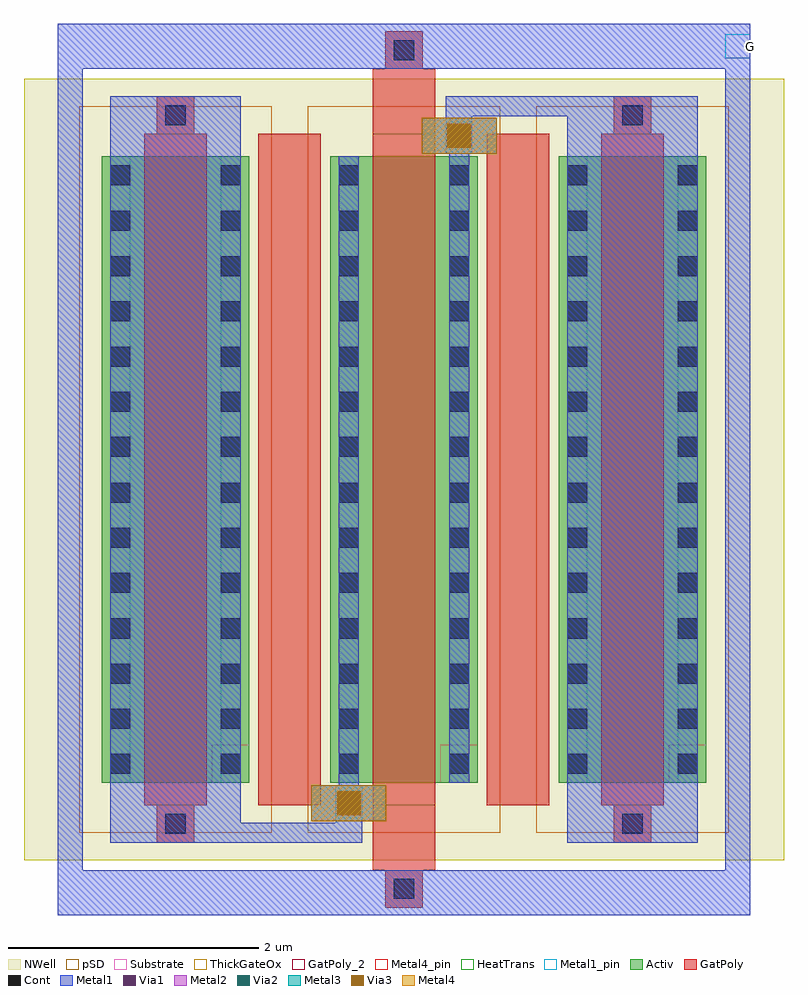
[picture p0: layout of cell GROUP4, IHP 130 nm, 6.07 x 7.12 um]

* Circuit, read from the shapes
.subckt GROUP4 G
XM1 pmosHV_priv10_1/D pmosHV_priv10_1/D pmosHV_priv10_1/D n1 sg13_hv_pmos w=5u l=0.5u
XM2 pmosHV_priv10_1/S G pmosHV_priv10_1/D n1 sg13_hv_pmos w=5u l=0.5u
XM3 pmosHV_priv10_1/S pmosHV_priv10_1/S pmosHV_priv10_1/S n1 sg13_hv_pmos w=5u l=0.5u
.ends

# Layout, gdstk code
import gdstk
lib = gdstk.Library(unit=1e-6, precision=1e-09)
def R(c, l, rs):  # rectangles x0, y0, x1, y1
    for r in rs: c.add(gdstk.rectangle(r[:2], r[2:], *l))
def A(c, l, x, y, w, h, nx, ny, dx, dy):  # array of equal rectangles
    R(c, l, [(x+i*dx, y+j*dy, x+i*dx+w, y+j*dy+h) for i in range(nx) for j in range(ny)])
Activ = (1, 0)
GatPoly = (5, 0)
GatPoly_2 = (5, 2)
Cont = (6, 0)
Metal1 = (8, 0)
Metal1_pin = (8, 2)
Metal2 = (10, 0)
pSD = (14, 0)
Via1 = (19, 0)
Via2 = (29, 0)
Metal3 = (30, 0)
NWell = (31, 0)
Substrate = (40, 0)
ThickGateOx = (44, 0)
Via3 = (49, 0)
Metal4 = (50, 0)
Metal4_pin = (50, 2)
HeatTrans = (51, 0)

pmoshv_priv12 = lib.new_cell('pmosHV_priv12')
R(pmoshv_priv12, Activ, [(0,0,0.3,0.3), (0,0,1.18,5), (0.88,0,1.18,0.3)])
R(pmoshv_priv12, GatPoly, [(0.44,-0.48,0.74,-0.18), (0.34,-0.18,0.84,5.18), (0.44,5.18,0.74,5.48)])
R(pmoshv_priv12, GatPoly_2, [(0.34,-0.18,0.84,5.18)])
A(pmoshv_priv12, Cont, 0.07, 0.07, 0.16, 0.16, 1, 4, 0, 0.36)
A(pmoshv_priv12, Cont, 0.95, 0.07, 0.16, 0.16, 1, 4, 0, 0.36)
A(pmoshv_priv12, Cont, 0.07, 1.515, 0.16, 0.16, 1, 3, 0, 0.36)
A(pmoshv_priv12, Cont, 0.95, 1.515, 0.16, 0.16, 1, 3, 0, 0.36)
A(pmoshv_priv12, Cont, 0.07, 2.6, 0.16, 0.16, 1, 3, 0, 0.36)
A(pmoshv_priv12, Cont, 0.95, 2.6, 0.16, 0.16, 1, 3, 0, 0.36)
A(pmoshv_priv12, Cont, 0.07, 3.685, 0.16, 0.16, 1, 3, 0, 0.36)
A(pmoshv_priv12, Cont, 0.95, 3.685, 0.16, 0.16, 1, 3, 0, 0.36)
R(pmoshv_priv12, Cont, [(0.51,-0.41,0.67,-0.25), (0.07,4.77,0.23,4.93), (0.95,4.77,1.11,4.93), (0.51,5.25,0.67,5.41)])
R(pmoshv_priv12, Metal1, [(0.07,-0.48,1.11,5.48), (0.07,0,0.23,5), (0.95,0,1.11,5)])
R(pmoshv_priv12, Metal1_pin, [(0.07,0,0.23,5), (0.95,0,1.11,5)])
R(pmoshv_priv12, pSD, [(-0.18,-0.4,1.36,5.4)])
R(pmoshv_priv12, NWell, [(-0.62,-0.62,1.8,5.62)])
R(pmoshv_priv12, Substrate, [(0.88,0,1.18,0.3)])
R(pmoshv_priv12, ThickGateOx, [(-0.62,-0.62,1.8,5.62)])
R(pmoshv_priv12, HeatTrans, [(0.34,-0.18,0.84,5.18)])
pmoshv_priv12.add(gdstk.Label('pmosHV', (0.59,2.5), layer=63, texttype=0))
pmoshv_priv12.add(gdstk.Label('pmos', (0.59,2.5), layer=51, texttype=0))

pmoshv_priv10 = lib.new_cell('pmosHV_priv10')
R(pmoshv_priv10, Activ, [(0,0,0.3,0.3), (0,0,1.18,5), (0.88,0,1.18,0.3)])
R(pmoshv_priv10, GatPoly, [(0.44,-1,0.74,-0.7), (0.34,-0.7,0.84,-0.18), (0.34,-0.18,0.84,5.18), (0.34,5.18,0.84,5.7), (0.44,5.7,0.74,6)])
R(pmoshv_priv10, GatPoly_2, [(0.34,-0.18,0.84,5.18)])
A(pmoshv_priv10, Cont, 0.07, 0.07, 0.16, 0.16, 1, 4, 0, 0.36)
A(pmoshv_priv10, Cont, 0.95, 0.07, 0.16, 0.16, 1, 4, 0, 0.36)
A(pmoshv_priv10, Cont, 0.07, 1.515, 0.16, 0.16, 1, 3, 0, 0.36)
A(pmoshv_priv10, Cont, 0.95, 1.515, 0.16, 0.16, 1, 3, 0, 0.36)
A(pmoshv_priv10, Cont, 0.07, 2.6, 0.16, 0.16, 1, 3, 0, 0.36)
A(pmoshv_priv10, Cont, 0.95, 2.6, 0.16, 0.16, 1, 3, 0, 0.36)
A(pmoshv_priv10, Cont, 0.07, 3.685, 0.16, 0.16, 1, 3, 0, 0.36)
A(pmoshv_priv10, Cont, 0.95, 3.685, 0.16, 0.16, 1, 3, 0, 0.36)
R(pmoshv_priv10, Cont, [(0.51,-0.93,0.67,-0.77), (0.07,4.77,0.23,4.93), (0.95,4.77,1.11,4.93), (0.51,5.77,0.67,5.93)])
R(pmoshv_priv10, Metal1, [(0.455,-1.06,0.725,-0.7), (0.045,-0.31,0.255,-0.02), (0.07,-0.035,0.23,0.015), (0.07,0,0.23,5), (0.95,0,1.11,5), (0.95,4.985,1.11,5.035), (0.925,5.02,1.135,5.31), (0.455,5.7,0.725,6.06)])
R(pmoshv_priv10, Metal1_pin, [(0.07,0,0.23,5), (0.95,0,1.11,5)])
R(pmoshv_priv10, Metal2, [(-0.15,-0.31,0.45,-0.02), (0.05,-0.31,0.25,-0.02), (0.73,5.02,1.33,5.31), (0.93,5.02,1.13,5.31)])
R(pmoshv_priv10, pSD, [(-0.18,-0.4,1.36,5.4)])
R(pmoshv_priv10, Via1, [(0.055,-0.26,0.245,-0.07), (0.935,5.07,1.125,5.26)])
R(pmoshv_priv10, Via2, [(0.055,-0.26,0.245,-0.07), (0.935,5.07,1.125,5.26)])
R(pmoshv_priv10, Metal3, [(-0.15,-0.31,0.45,-0.02), (0.05,-0.31,0.25,-0.02), (0.73,5.02,1.33,5.31), (0.93,5.02,1.13,5.31)])
R(pmoshv_priv10, NWell, [(-0.62,-0.62,1.8,5.62)])
R(pmoshv_priv10, Substrate, [(0.88,0,1.18,0.3)])
R(pmoshv_priv10, ThickGateOx, [(-0.62,-0.62,1.8,5.62)])
R(pmoshv_priv10, Via3, [(0.055,-0.26,0.245,-0.07), (0.935,5.07,1.125,5.26)])
R(pmoshv_priv10, Metal4, [(-0.15,-0.31,0.45,-0.02), (0.05,-0.31,0.25,-0.02), (0.73,5.02,1.33,5.31), (0.93,5.02,1.13,5.31)])
R(pmoshv_priv10, Metal4_pin, [(0.055,-0.26,0.245,-0.07), (0.935,5.07,1.125,5.26)])
R(pmoshv_priv10, HeatTrans, [(0.34,-0.18,0.84,5.18)])
pmoshv_priv10.add(gdstk.Label('pmosHV', (0.59,2.5), layer=63, texttype=0))
pmoshv_priv10.add(gdstk.Label('pmos', (0.59,2.5), layer=51, texttype=0))
pmoshv_priv10.add(gdstk.Label('S', (1.03,5.165), layer=50, texttype=0))
pmoshv_priv10.add(gdstk.Label('D', (0.15,-0.165), layer=50, texttype=0))

pmoshv_priv11 = lib.new_cell('pmosHV_priv11')
R(pmoshv_priv11, Activ, [(0,0,0.3,0.3), (0,0,1.18,5), (0.88,0,1.18,0.3)])
R(pmoshv_priv11, GatPoly, [(0.44,-0.48,0.74,-0.18), (0.34,-0.18,0.84,5.18), (0.44,5.18,0.74,5.48)])
R(pmoshv_priv11, GatPoly_2, [(0.34,-0.18,0.84,5.18)])
A(pmoshv_priv11, Cont, 0.07, 0.07, 0.16, 0.16, 1, 4, 0, 0.36)
A(pmoshv_priv11, Cont, 0.95, 0.07, 0.16, 0.16, 1, 4, 0, 0.36)
A(pmoshv_priv11, Cont, 0.07, 1.515, 0.16, 0.16, 1, 3, 0, 0.36)
A(pmoshv_priv11, Cont, 0.95, 1.515, 0.16, 0.16, 1, 3, 0, 0.36)
A(pmoshv_priv11, Cont, 0.07, 2.6, 0.16, 0.16, 1, 3, 0, 0.36)
A(pmoshv_priv11, Cont, 0.95, 2.6, 0.16, 0.16, 1, 3, 0, 0.36)
A(pmoshv_priv11, Cont, 0.07, 3.685, 0.16, 0.16, 1, 3, 0, 0.36)
A(pmoshv_priv11, Cont, 0.95, 3.685, 0.16, 0.16, 1, 3, 0, 0.36)
R(pmoshv_priv11, Cont, [(0.51,-0.41,0.67,-0.25), (0.07,4.77,0.23,4.93), (0.95,4.77,1.11,4.93), (0.51,5.25,0.67,5.41)])
R(pmoshv_priv11, Metal1, [(0.07,-0.48,1.11,5.48), (0.07,0,0.23,5), (0.95,0,1.11,5)])
R(pmoshv_priv11, Metal1_pin, [(0.07,0,0.23,5), (0.95,0,1.11,5)])
R(pmoshv_priv11, pSD, [(-0.18,-0.4,1.36,5.4)])
R(pmoshv_priv11, NWell, [(-0.62,-0.62,1.8,5.62)])
R(pmoshv_priv11, Substrate, [(0.88,0,1.18,0.3)])
R(pmoshv_priv11, ThickGateOx, [(-0.62,-0.62,1.8,5.62)])
R(pmoshv_priv11, HeatTrans, [(0.34,-0.18,0.84,5.18)])
pmoshv_priv11.add(gdstk.Label('pmosHV', (0.59,2.5), layer=63, texttype=0))
pmoshv_priv11.add(gdstk.Label('pmos', (0.59,2.5), layer=51, texttype=0))

group4 = lib.new_cell('GROUP4')
R(group4, GatPoly, [(86.815,-130.44,87.315,-125.08), (88.64,-130.44,89.14,-125.08)])
R(group4, Metal1, [(85.215,-131.32,90.745,-130.96), (85.215,-131.32,85.415,-124.2), (90.545,-131.32,90.745,-124.2), (86.675,-130.74,87.645,-130.58), (87.435,-130.58,87.645,-130.28), (88.315,-125.24,88.525,-124.94), (88.315,-124.94,89.285,-124.78), (85.215,-124.56,90.745,-124.2)])
R(group4, Metal1_pin, [(90.545,-124.475,90.745,-124.285)])
group4.add(gdstk.Reference(pmoshv_priv12, (89.215,-130.26)))
group4.add(gdstk.Reference(pmoshv_priv10, (87.39,-130.26)))
group4.add(gdstk.Reference(pmoshv_priv11, (85.565,-130.26)))
group4.add(gdstk.Label('G', (90.745,-124.38), layer=8, texttype=0))
group4.add(gdstk.Label('XMT1', (87.38,-123.9), layer=1000, texttype=0))
group4.add(gdstk.Label('XMT', (87.98,-123.9), layer=1000, texttype=0))
group4.add(gdstk.Label('XMT2', (88.58,-123.9), layer=1000, texttype=0))

lib.write_gds('GROUP4.gds')
